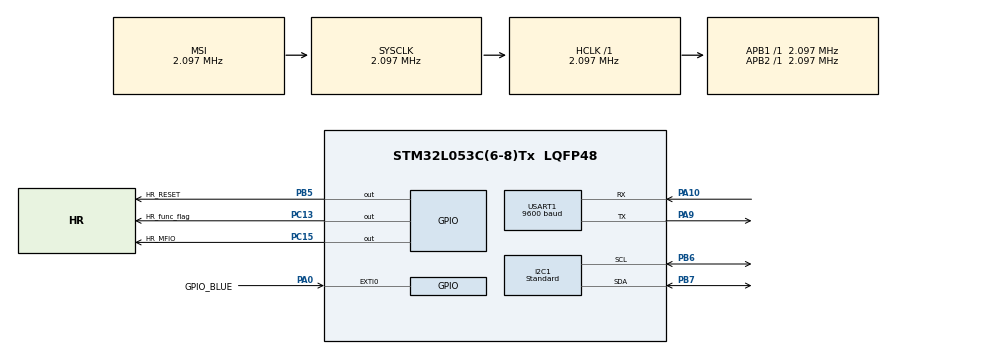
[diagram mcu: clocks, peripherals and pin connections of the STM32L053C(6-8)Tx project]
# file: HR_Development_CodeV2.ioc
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I2C1.I2C_Fall_Time=30
I2C1.I2C_Rise_Time=30
I2C1.I2C_Speed_Mode=I2C_Standard
Mcu.Family=STM32L0
Mcu.Name=STM32L053C(6-8)Tx
Mcu.Package=LQFP48
NVIC.EXTI0_1_IRQn=true\:0\:0\:false\:false\:true\:true\:true
NVIC.USART1_IRQn=true\:0\:0\:false\:false\:true\:true\:true
PA0.GPIO_Label=GPIO_BLUE
PA0.GPIO_ModeDefaultEXTI=GPIO_MODE_IT_FALLING
PA0.Signal=GPXTI0
PA10.Mode=Asynchronous
PA10.Signal=USART1_RX
PA9.Mode=Asynchronous
PA9.Signal=USART1_TX
PB5.GPIO_Label=HR_RESET
PB5.PinState=GPIO_PIN_SET
PB5.Signal=GPIO_Output
PB6.GPIO_PuPdOD=GPIO_NOPULL
PB6.Mode=I2C
PB6.Signal=I2C1_SCL
PB7.GPIO_FM9=__NULL
PB7.GPIO_PuPdOD=GPIO_NOPULL
PB7.Mode=I2C
PB7.Signal=I2C1_SDA
PC13.GPIO_Label=HR_func_flag
PC13.Signal=GPIO_Output
PC15-OSC32_OUT.GPIO_Label=HR_MFIO
PC15-OSC32_OUT.Signal=GPIO_Output
ProjectManager.HeapSize=0x200
ProjectManager.StackSize=0x400
ProjectManager.TargetToolchain=TrueSTUDIO
RCC.AHBFreq_Value=2097000
RCC.APB1Freq_Value=2097000
RCC.APB1TimFreq_Value=2097000
RCC.APB2Freq_Value=2097000
RCC.APB2TimFreq_Value=2097000
RCC.HSE_VALUE=8000000
RCC.HSI16_VALUE=16000000
RCC.HSI48_VALUE=48000000
RCC.HSI_VALUE=16000000
RCC.LSE_VALUE=32768
RCC.MSI_VALUE=2097000
RCC.SYSCLKFreq_VALUE=2097000
RCC.VCOOutputFreq_Value=48000000
USART1.BaudRate=9600
USART1.VirtualMode-Asynchronous=VM_ASYNC
board=custom

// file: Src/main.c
/* USER CODE BEGIN Header */
/**
  ******************************************************************************
  * @file           : main.c
  * @brief          : Main program body
  ******************************************************************************
  * @attention
  *
  * <h2><center>&copy; Copyright (c) 2020 STMicroelectronics.
  * All rights reserved.</center></h2>
  *
  * This software component is licensed by ST under BSD 3-Clause license,
  * the "License"; You may not use this file except in compliance with the
  * License. You may obtain a copy of the License at:
  *                        opensource.org/licenses/BSD-3-Clause
  *
  ******************************************************************************
  */
/* USER CODE END Header */

#include "main.h"

/* USER CODE BEGIN Includes */
#include "stm32l0xx.h"
#include "hr.h"

/* USER CODE END Includes */

I2C_HandleTypeDef hi2c1;

UART_HandleTypeDef huart1;

/* USER CODE BEGIN PV */
//uint8_t received_data[22] = {0};
extern uint16_t heartrate;
extern uint8_t  HR_conf;
extern uint16_t spo2;
extern uint8_t  alg_state;
extern uint8_t  alg_status;
extern uint8_t MAX_BUFF;
extern uint8_t read_flag;

/* USER CODE END PV */

void SystemClock_Config(void);
static void MX_GPIO_Init(void);
static void MX_I2C1_Init(void);
static void MX_USART1_UART_Init(void);
/* USER CODE BEGIN PFP */

void EXTI2_TSC_IRQHandler(void);
void HAL_GPIO_EXTI_Callback(uint16_t GPIO_Pin);

/* USER CODE END PFP */

int main(void)
{

  /* MCU Configuration--------------------------------------------------------*/

  /* Reset of all peripherals, Initializes the Flash interface and the Systick. */
  HAL_Init();

  /* Configure the system clock */
  SystemClock_Config();

  /* Initialize all configured peripherals */
  MX_GPIO_Init();
  MX_I2C1_Init();
  MX_USART1_UART_Init();
  /* USER CODE BEGIN 2 */

  	//if(HR_SHUTDOWN() == 1)
  	//{
  	//	asm("NOP");
  	//}

  	//HAL_Delay(100);

	HR_APP_MODE(); //call function to put module in application mode
	//HR_MFIO_SET();

	if(HR_INIT() == 1) //equals 1 means initialization failed - do something? make while loop that runs until it isnt 0?
	 {
 		asm("NOP");
	 }

	HR_MFIO_SET();

	//if(HAL_GPIO_ReadPin(HR_MFIO_GPIO_Port, HR_MFIO_Pin) == 1)
	//{
	//	asm("nop");
	//}
  	//if(HR_SHUTDOWN() == 1)
  	//{
  	//	asm("NOP");
  	//}

  /* USER CODE END 2 */

  /* Infinite loop */
  while (1)
  {

    /* USER CODE BEGIN 3 */
/*
	  uint8_t receive_data[22];
	  //HAL_GPIO_WritePin(HR_MFIO_GPIO_Port, HR_MFIO_Pin, GPIO_PIN_SET);
	  while(HAL_GPIO_ReadPin(HR_MFIO_GPIO_Port, HR_MFIO_Pin) == 1)
	  {
		asm("nop");
	  }

	  if(HAL_GPIO_ReadPin(HR_MFIO_GPIO_Port, HR_MFIO_Pin) == 0)
	  {
		  HR_READ(receive_data);
		  HAL_GPIO_WritePin(HR_MFIO_GPIO_Port, HR_MFIO_Pin, GPIO_PIN_SET);
	  }
*/

/*
	  if(read_flag == 3)
	  {
			HAL_NVIC_DisableIRQ(EXTI4_15_IRQn);
		  //pause_sensor();
		  HAL_Delay(500);
		  //HR_INIT();
		  read_flag = 0;
			HAL_NVIC_EnableIRQ(EXTI4_15_IRQn);
	  }
*/
	  /*
	  uint8_t HR[4];
	  uint8_t SPO2[4];

	  HR[3] = '\0';
	  HR[2] = (heartrate % 10);
	  HR[1] = ((heartrate/10) % 10);
	  HR[0] = ((heartrate/100) % 10);

	  SPO2[3] = '\0';
	  SPO2[2] = (spo2 % 10);
	  SPO2[1] = ((spo2/10) % 10);
	  SPO2[0] = ((spo2/100) % 10);

	  uint8_t HRCONF[2];
	  uint8_t ALGSTATUS[2];
	  uint8_t ALGSTATE[2];

	  HRCONF[1] = '\0';
	  HRCONF[0] = HR_conf;

	  ALGSTATUS[1] = '\0';
	  ALGSTATUS[0] = alg_status;

	  ALGSTATE[1] = '\0';
	  ALGSTATE[0] = alg_state;

	  HAL_UART_Transmit(&huart1, HR, sizeof(HR), 1000); //set baud rate
	  HAL_UART_Transmit(&huart1, HRCONF, sizeof(HRCONF), 1000); //set fix rate
	  HAL_UART_Transmit(&huart1, SPO2, sizeof(SPO2), 1000); //set frequency
	  HAL_UART_Transmit(&huart1, ALGSTATUS, sizeof(ALGSTATUS), 1000); //set sentence format
	  HAL_UART_Transmit(&huart1, ALGSTATE, sizeof(ALGSTATE), 1000); //set sentence format
*/

/*
	  if(read_flag == 3)
	  {
		HAL_Delay(5000);
		read_flag = 0;
		start();
		HAL_Delay(40);
		HAL_NVIC_EnableIRQ(EXTI4_15_IRQn);
	  }
*/
		//uint8_t received_data[MAX_BUFF];

	  /*
		uint8_t arr_2_1[2] = {0x00, 0x00};
		uint8_t received[2] = {-3, -3};
		read_cmd(arr_2_1, sizeof(arr_2_1), received);
		if(received[0] != 0x00)
		{
			return 1;
		}

		if((received[1] == 0x08) && (HAL_GPIO_ReadPin(HR_MFIO_GPIO_Port, HR_MFIO_Pin) == 0))
		{
			uint8_t received_data[MAX_BUFF];
			HR_READ(received_data);
			HAL_GPIO_WritePin(HR_MFIO_GPIO_Port, HR_MFIO_Pin, GPIO_PIN_SET);
		}

*/

	  if(read_flag == 3)
	  {
		  read_flag = 0;
		  HAL_Delay(1000);
		  start30101();
	  }

	HAL_Delay(10);

  }
  /* USER CODE END 3 */
}

void SystemClock_Config(void)
{
  RCC_OscInitTypeDef RCC_OscInitStruct = {0};
  RCC_ClkInitTypeDef RCC_ClkInitStruct = {0};
  RCC_PeriphCLKInitTypeDef PeriphClkInit = {0};

  /** Configure the main internal regulator output voltage
  */
  __HAL_PWR_VOLTAGESCALING_CONFIG(PWR_REGULATOR_VOLTAGE_SCALE1);
  /** Initializes the CPU, AHB and APB busses clocks
  */
  RCC_OscInitStruct.OscillatorType = RCC_OSCILLATORTYPE_MSI;
  RCC_OscInitStruct.MSIState = RCC_MSI_ON;
  RCC_OscInitStruct.MSICalibrationValue = 0;
  RCC_OscInitStruct.MSIClockRange = RCC_MSIRANGE_5;
  RCC_OscInitStruct.PLL.PLLState = RCC_PLL_NONE;
  if (HAL_RCC_OscConfig(&RCC_OscInitStruct) != HAL_OK)
  {
    Error_Handler();
  }
  /** Initializes the CPU, AHB and APB busses clocks
  */
  RCC_ClkInitStruct.ClockType = RCC_CLOCKTYPE_HCLK|RCC_CLOCKTYPE_SYSCLK
                              |RCC_CLOCKTYPE_PCLK1|RCC_CLOCKTYPE_PCLK2;
  RCC_ClkInitStruct.SYSCLKSource = RCC_SYSCLKSOURCE_MSI;
  RCC_ClkInitStruct.AHBCLKDivider = RCC_SYSCLK_DIV1;
  RCC_ClkInitStruct.APB1CLKDivider = RCC_HCLK_DIV1;
  RCC_ClkInitStruct.APB2CLKDivider = RCC_HCLK_DIV1;

  if (HAL_RCC_ClockConfig(&RCC_ClkInitStruct, FLASH_LATENCY_0) != HAL_OK)
  {
    Error_Handler();
  }
  PeriphClkInit.PeriphClockSelection = RCC_PERIPHCLK_USART1|RCC_PERIPHCLK_I2C1;
  PeriphClkInit.Usart1ClockSelection = RCC_USART1CLKSOURCE_PCLK2;
  PeriphClkInit.I2c1ClockSelection = RCC_I2C1CLKSOURCE_PCLK1;
  if (HAL_RCCEx_PeriphCLKConfig(&PeriphClkInit) != HAL_OK)
  {
    Error_Handler();
  }
}

static void MX_I2C1_Init(void)
{

  hi2c1.Instance = I2C1;
  hi2c1.Init.Timing = 0x00000708;
  hi2c1.Init.OwnAddress1 = 0;
  hi2c1.Init.AddressingMode = I2C_ADDRESSINGMODE_7BIT;
  hi2c1.Init.DualAddressMode = I2C_DUALADDRESS_DISABLE;
  hi2c1.Init.OwnAddress2 = 0;
  hi2c1.Init.OwnAddress2Masks = I2C_OA2_NOMASK;
  hi2c1.Init.GeneralCallMode = I2C_GENERALCALL_DISABLE;
  hi2c1.Init.NoStretchMode = I2C_NOSTRETCH_DISABLE;
  if (HAL_I2C_Init(&hi2c1) != HAL_OK)
  {
    Error_Handler();
  }
  /** Configure Analogue filter
  */
  if (HAL_I2CEx_ConfigAnalogFilter(&hi2c1, I2C_ANALOGFILTER_ENABLE) != HAL_OK)
  {
    Error_Handler();
  }
  /** Configure Digital filter
  */
  if (HAL_I2CEx_ConfigDigitalFilter(&hi2c1, 0) != HAL_OK)
  {
    Error_Handler();
  }

}

static void MX_USART1_UART_Init(void)
{

  huart1.Instance = USART1;
  huart1.Init.BaudRate = 9600;
  huart1.Init.WordLength = UART_WORDLENGTH_8B;
  huart1.Init.StopBits = UART_STOPBITS_1;
  huart1.Init.Parity = UART_PARITY_NONE;
  huart1.Init.Mode = UART_MODE_TX_RX;
  huart1.Init.HwFlowCtl = UART_HWCONTROL_NONE;
  huart1.Init.OverSampling = UART_OVERSAMPLING_16;
  huart1.Init.OneBitSampling = UART_ONE_BIT_SAMPLE_DISABLE;
  huart1.AdvancedInit.AdvFeatureInit = UART_ADVFEATURE_NO_INIT;
  if (HAL_UART_Init(&huart1) != HAL_OK)
  {
    Error_Handler();
  }

}

static void MX_GPIO_Init(void)
{
  GPIO_InitTypeDef GPIO_InitStruct = {0};

  /* GPIO Ports Clock Enable */
  __HAL_RCC_GPIOC_CLK_ENABLE();
  __HAL_RCC_GPIOA_CLK_ENABLE();
  __HAL_RCC_GPIOB_CLK_ENABLE();

  /*Configure GPIO pin Output Level */
  HAL_GPIO_WritePin(GPIOC, HR_func_flag_Pin|HR_MFIO_Pin, GPIO_PIN_RESET);

  /*Configure GPIO pin Output Level */
  HAL_GPIO_WritePin(HR_RESET_GPIO_Port, HR_RESET_Pin, GPIO_PIN_SET);

  /*Configure GPIO pins : HR_func_flag_Pin HR_MFIO_Pin */
  GPIO_InitStruct.Pin = HR_func_flag_Pin|HR_MFIO_Pin;
  GPIO_InitStruct.Mode = GPIO_MODE_OUTPUT_PP;
  GPIO_InitStruct.Pull = GPIO_NOPULL;
  GPIO_InitStruct.Speed = GPIO_SPEED_FREQ_LOW;
  HAL_GPIO_Init(GPIOC, &GPIO_InitStruct);

  /*Configure GPIO pin : GPIO_BLUE_Pin */
  GPIO_InitStruct.Pin = GPIO_BLUE_Pin;
  GPIO_InitStruct.Mode = GPIO_MODE_IT_FALLING;
  GPIO_InitStruct.Pull = GPIO_NOPULL;
  HAL_GPIO_Init(GPIO_BLUE_GPIO_Port, &GPIO_InitStruct);

  /*Configure GPIO pin : HR_RESET_Pin */
  GPIO_InitStruct.Pin = HR_RESET_Pin;
  GPIO_InitStruct.Mode = GPIO_MODE_OUTPUT_PP;
  GPIO_InitStruct.Pull = GPIO_NOPULL;
  GPIO_InitStruct.Speed = GPIO_SPEED_FREQ_LOW;
  HAL_GPIO_Init(HR_RESET_GPIO_Port, &GPIO_InitStruct);

  /* EXTI interrupt init*/
  HAL_NVIC_SetPriority(EXTI0_1_IRQn, 0, 0);
  HAL_NVIC_EnableIRQ(EXTI0_1_IRQn);

}

/* USER CODE BEGIN 4 */

/*
void HAL_GPIO_EXTI_Callback(uint16_t GPIO_Pin)
{
	HAL_NVIC_DisableIRQ(EXTI0_1_IRQn);
	if(GPIO_Pin == GPIO_BLUE_Pin)
	{
		;
	}
	HAL_NVIC_EnableIRQ(EXTI0_1_IRQn);
}
*/

void EXTI4_15_IRQHandler(void)
{
	HAL_GPIO_EXTI_IRQHandler(HR_MFIO_Pin);
}

void HAL_GPIO_EXTI_Callback(uint16_t GPIO_Pin)
{
	HAL_NVIC_DisableIRQ(EXTI4_15_IRQn);
	if(GPIO_Pin == HR_MFIO_Pin)
	{
		//do stuff now that the interrupt was set
		uint8_t received_data[MAX_BUFF];
		//uint8_t flag_read;
		//HAL_GPIO_WritePin(GPIOC, HR_func_flag_Pin, GPIO_PIN_SET);
		HR_READ(received_data);
		//HAL_GPIO_WritePin(GPIOC, HR_func_flag_Pin, GPIO_PIN_RESET);

	//	if(flag_read == 3)
	//	  {
	//		  pause_sensor();

	//		  uint8_t x = 0;
		//	  while(x < 10000)
		//	  {
		//		  x = x + 1;
		//	  }

		//	  unpause_sensor();

		//  }

	}

	//if(read_flag != 3)
	//{
		HAL_NVIC_EnableIRQ(EXTI4_15_IRQn);
	//}
}

/* USER CODE END 4 */

void Error_Handler(void)
{
}

/************************ (C) COPYRIGHT STMicroelectronics *****END OF FILE****/
